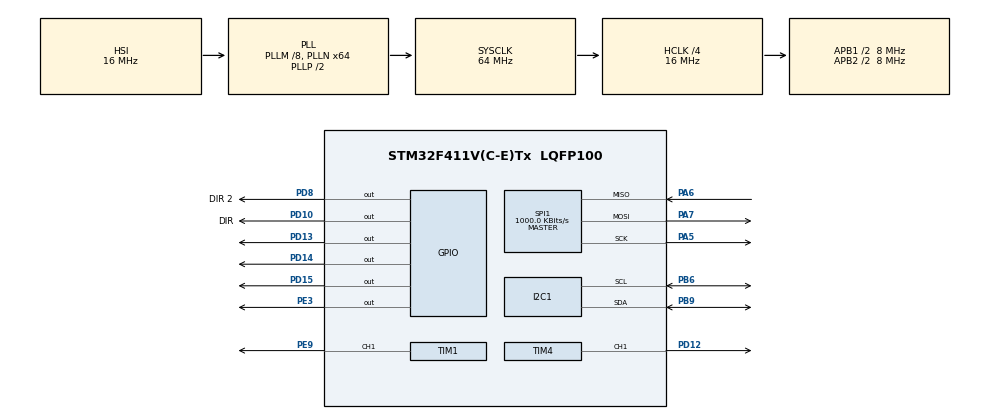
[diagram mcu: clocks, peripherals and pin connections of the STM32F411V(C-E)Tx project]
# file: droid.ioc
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I2C1.OwnAddress=0
Mcu.Family=STM32F4
Mcu.Name=STM32F411V(C-E)Tx
Mcu.Package=LQFP100
NVIC.PriorityGroup=NVIC_PRIORITYGROUP_0
NVIC.RCC_IRQn=true\:0\:0\:false\:false\:true\:true
PA5.Mode=Full_Duplex_Master
PA5.Signal=SPI1_SCK
PA6.Mode=Full_Duplex_Master
PA6.Signal=SPI1_MISO
PA7.Mode=Full_Duplex_Master
PA7.Signal=SPI1_MOSI
PB6.Mode=I2C
PB6.Signal=I2C1_SCL
PB9.Mode=I2C
PB9.Signal=I2C1_SDA
PD10.GPIO_Label=DIR
PD10.Signal=GPIO_Output
PD12.Signal=S_TIM4_CH1
PD13.Signal=GPIO_Output
PD14.Signal=GPIO_Output
PD15.Signal=GPIO_Output
PD8.GPIO_Label=DIR 2
PD8.Signal=GPIO_Output
PE3.PinState=GPIO_PIN_SET
PE3.Signal=GPIO_Output
PE9.Signal=S_TIM1_CH1
PH0\ -\ OSC_IN.Mode=HSE-External-Oscillator
PH0\ -\ OSC_IN.Signal=RCC_OSC_IN
PH1\ -\ OSC_OUT.Mode=HSE-External-Oscillator
PH1\ -\ OSC_OUT.Signal=RCC_OSC_OUT
ProjectManager.HeapSize=0x200
ProjectManager.StackSize=0x400
ProjectManager.TargetToolchain=MDK-ARM V5
RCC.48MHZClocksFreq_Value=16000000
RCC.AHBCLKDivider=RCC_SYSCLK_DIV4
RCC.AHBFreq_Value=16000000
RCC.APB1CLKDivider=RCC_HCLK_DIV2
RCC.APB1Freq_Value=8000000
RCC.APB1TimFreq_Value=16000000
RCC.APB2CLKDivider=RCC_HCLK_DIV2
RCC.APB2Freq_Value=8000000
RCC.APB2TimFreq_Value=16000000
RCC.CortexFreq_Value=16000000
RCC.HCLKFreq_Value=16000000
RCC.HSE_VALUE=8000000
RCC.HSI_VALUE=16000000
RCC.LSE_VALUE=32768
RCC.PLLI2SM=5
RCC.PLLI2SN=200
RCC.PLLM=8
RCC.PLLN=64
RCC.PLLQ=8
RCC.SYSCLKFreq_VALUE=64000000
RCC.SYSCLKSource=RCC_SYSCLKSOURCE_PLLCLK
RCC.VCOOutputFreq_Value=128000000
SH.S_TIM1_CH1.0=TIM1_CH1,PWM Generation1 CH1
SH.S_TIM4_CH1.0=TIM4_CH1,PWM Generation1 CH1
SPI1.BaudRatePrescaler=SPI_BAUDRATEPRESCALER_8
SPI1.CalculateBaudRate=1000.0 KBits/s
SPI1.Direction=SPI_DIRECTION_2LINES
SPI1.Mode=SPI_MODE_MASTER
SPI1.VirtualType=VM_MASTER
TIM1.Channel-PWM\ Generation1\ CH1=TIM_CHANNEL_1
TIM1.Period=1000
TIM1.Prescaler=16
TIM1.Pulse-PWM\ Generation1\ CH1=0
TIM4.Channel-PWM\ Generation1\ CH1=TIM_CHANNEL_1
TIM4.Period=1000
TIM4.Prescaler=16
VP_TIM1_VS_ClockSourceINT.Mode=Internal
VP_TIM4_VS_ClockSourceINT.Mode=Internal
board=32F411EDISCOVERY

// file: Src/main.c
/**
  ******************************************************************************
  * @file           : main.c
  * @brief          : Main program body
  ******************************************************************************
  ** This notice applies to any and all portions of this file
  * that are not between comment pairs USER CODE BEGIN and
  * USER CODE END. Other portions of this file, whether
  * inserted by the user or by software development tools
  * are owned by their respective copyright owners.
  *
  * COPYRIGHT(c) 2019 STMicroelectronics
  *
  * Redistribution and use in source and binary forms, with or without modification,
  * are permitted provided that the following conditions are met:
  *   1. Redistributions of source code must retain the above copyright notice,
  *      this list of conditions and the following disclaimer.
  *   2. Redistributions in binary form must reproduce the above copyright notice,
  *      this list of conditions and the following disclaimer in the documentation
  *      and/or other materials provided with the distribution.
  *   3. Neither the name of STMicroelectronics nor the names of its contributors
  *      may be used to endorse or promote products derived from this software
  *      without specific prior written permission.
  *
  * THIS SOFTWARE IS PROVIDED BY THE COPYRIGHT HOLDERS AND CONTRIBUTORS "AS IS"
  * AND ANY EXPRESS OR IMPLIED WARRANTIES, INCLUDING, BUT NOT LIMITED TO, THE
  * IMPLIED WARRANTIES OF MERCHANTABILITY AND FITNESS FOR A PARTICULAR PURPOSE ARE
  * DISCLAIMED. IN NO EVENT SHALL THE COPYRIGHT HOLDER OR CONTRIBUTORS BE LIABLE
  * FOR ANY DIRECT, INDIRECT, INCIDENTAL, SPECIAL, EXEMPLARY, OR CONSEQUENTIAL
  * DAMAGES (INCLUDING, BUT NOT LIMITED TO, PROCUREMENT OF SUBSTITUTE GOODS OR
  * SERVICES; LOSS OF USE, DATA, OR PROFITS; OR BUSINESS INTERRUPTION) HOWEVER
  * CAUSED AND ON ANY THEORY OF LIABILITY, WHETHER IN CONTRACT, STRICT LIABILITY,
  * OR TORT (INCLUDING NEGLIGENCE OR OTHERWISE) ARISING IN ANY WAY OUT OF THE USE
  * OF THIS SOFTWARE, EVEN IF ADVISED OF THE POSSIBILITY OF SUCH DAMAGE.
  *
  ******************************************************************************
  */
#include "main.h"
#include "stm32f4xx_hal.h"

/* USER CODE BEGIN Includes */
#include <stdbool.h>
#include <math.h>
/* USER CODE END Includes */

#define UMAX 100
#define UMIN 0
#define epsilon 0.01

#define Ki	0
#define Kp 0
#define Kd 0

I2C_HandleTypeDef hi2c1;

SPI_HandleTypeDef hspi1;

TIM_HandleTypeDef htim1;
TIM_HandleTypeDef htim4;

/* USER CODE BEGIN PV */
/* Private variables ---------------------------------------------------------*/

uint8_t spiTx[3], spiRx[6];
uint8_t modeReg;
uint8_t i2cRx[8], i2cBuff[7], i2cBuffm[7];
int i = 0;
float acc[3], mag[3], gyro[3], acc_deg[3] = {0,0,0}, gyro_deg[3] = {0,0,0}, deg[3] = {0,0,0};
float offsetMag[3], deltaMag[3], normMag, scale[3], initMag[3] = {0,0,0}, mag_deg[3];
float total_acc, avg_delta;
float Ka, Kg, Kg2, Km;	// gains of the complementary filter
float Ts = 0.00001;// sampling time
float N;
float a0, a1, a2;
double e2, e1, e0, u2, u1, u0;                    // variables used in PID computation
int vel;	// input for both motors

uint8_t mg[9];

struct Stepper {
	GPIO_TypeDef *dir_letter;
	uint16_t dir_number;
	GPIO_PinState dir;
	uint32_t uStepping;	//this controls the pins of microstepping  for the A4988 resolution
	int32_t vel;		//velocity in steps
	TIM_TypeDef *timer;	//the timer attached
}left, right;

/* USER CODE END PV */

void SystemClock_Config(void);
static void MX_GPIO_Init(void);
static void MX_TIM1_Init(void);
static void MX_TIM4_Init(void);
static void MX_SPI1_Init(void);
static void MX_I2C1_Init(void);

void HAL_TIM_MspPostInit(TIM_HandleTypeDef *htim);

/* USER CODE BEGIN PFP */
/* Private function prototypes -----------------------------------------------*/

void updateSteppers(){
	if(right.vel < 0) 	right.dir = !right.dir;
	if(left.vel < 0)		left.dir = !left.dir;

	HAL_GPIO_WritePin(right.dir_letter, right.dir_number, right.dir);
	HAL_GPIO_WritePin(left.dir_letter, left.dir_number, left.dir);

	right.timer->ARR = right.vel;
	right.timer->CCR1 = right.vel/2;

	left.timer -> ARR = left.vel;
	left.timer -> CCR1 = left.vel / 2;
}

void turnOnGyro(){
	HAL_GPIO_WritePin(GPIOE, GPIO_PIN_3, GPIO_PIN_RESET);
}

void turnOffGyro(){
	HAL_GPIO_WritePin(GPIOE, GPIO_PIN_3, GPIO_PIN_SET);
}

void getGyro(){
	uint16_t data[3];

  // send data
	turnOnGyro();
	spiTx[0] = GYRO_AXES_DATA_REG | 0xC0;
	HAL_SPI_Transmit(&hspi1, spiTx, 1, 10);
	// read values
	HAL_SPI_Receive(&hspi1, spiRx, 6, 10);
	turnOffGyro();
	HAL_Delay(10);

	data[0] = (spiRx[1] << 8) | spiRx[0];
	data[1] = (spiRx[3] << 8) | spiRx[2];
	data[2] = (spiRx[5] << 8) | spiRx[4];

	for(int i = 0; i < 3; i++){	//C2 data processing
		if(data[i] >= 0x8000){
			gyro[i] = - ( data[i] ^ 0xFFFF) + 1;
		}
		else	gyro[i] =  data[i];

		gyro[i] = gyro[i] * GYRO_SENS;
	}
}

// transmit data = 0x32
// receive data = 0x33
void testAcc(){
		if(HAL_I2C_IsDeviceReady(&hi2c1, 0x33, 1, 10) == HAL_OK)
				HAL_GPIO_TogglePin(GPIOD, GPIO_PIN_13);

		if(HAL_I2C_IsDeviceReady(&hi2c1, MAG_ADD_READ, 1, 10) == HAL_OK)
				HAL_GPIO_TogglePin(GPIOD, GPIO_PIN_14);

		if(HAL_I2C_IsDeviceReady(&hi2c1, 0x54, 1, 10) == HAL_OK)
				HAL_GPIO_TogglePin(GPIOD, GPIO_PIN_15);

}

float PID(float control_pitch, float pitch_angle){
	e0 = pitch_angle - control_pitch;

	float derivative, integral;

  if( sqrt(e0* e0) > epsilon )
	integral =integral+ e0 * Ts;

	derivative= (e0 - e1) / Ts;
	u0 = Kp * e0+ Ki * integral + Kd * derivative;
	e1 = e0;

	if ( u0 > UMAX )	u0= UMAX;
	else if ( u0 < UMIN)	u0 = UMIN;

	return u0;
}

void getAcc(){

	i2cBuff[0] = 0x28 | 0x80;	//sending the register address
	HAL_I2C_Master_Transmit(&hi2c1, 0x33, i2cBuff, 1, 10);
	HAL_I2C_Master_Receive(&hi2c1, 0x32, &i2cBuff[1], 6, 10);

	int16_t data[3];
	data[0] = (( i2cBuff[2] << 8 ) | i2cBuff[1]) >> 4;
	data[1] = (( i2cBuff[4] << 8 ) | i2cBuff[3]) >> 4;
	data[2] = (( i2cBuff[6] << 8 ) | i2cBuff[5]) >> 4;

	for(int i = 0; i < 3; i++){
		if ( data[i] > 0x7FF){	//	negative number
			acc[i] = - (data[i] ^ 0xFFF) + 1;
		}
		else	acc[i] = data[i];

		acc[i] /= 1024;

		total_acc = sqrt(acc[0] *acc[0] + acc[1]*acc[1] + acc[2]*acc[2]);
	}

}

void getMagnetometer(){

	i2cBuffm[0] = 0x03;	//sending the register address
	HAL_I2C_Master_Transmit(&hi2c1, MAG_ADD_WRITE, i2cBuffm, 1, 10);
	HAL_I2C_Master_Receive(&hi2c1, MAG_ADD_READ, &i2cBuffm[1], 6, 10);

	HAL_I2C_Master_Transmit(&hi2c1, 0x54, i2cBuffm, 7, 10);

	int16_t data[3];
	data[0] = ( i2cBuffm[1] << 8 ) | i2cBuffm[2];
	data[1] = ( i2cBuffm[3] << 8 ) | i2cBuffm[4];
	data[2] = ( i2cBuffm[5] << 8 ) | i2cBuffm[6];

	for(int i = 0; i < 3; i++){
		if ( data[i] > 0x7FF){	//	negative number
			mag[i] = - (data[i] ^ 0xFFF) + 1;
		}
		else	mag[i] = data[i];
	}

		mag[0] /= MAG_SENS_XY;
		mag[1] /= MAG_SENS_XY;
		mag[2] /= MAG_SENS_Z;
}

void calib_magnetometer(){

	for(int i = 0; i < 3; i++){
		mag[i] -= offsetMag[i];
		scale[i] = avg_delta / deltaMag[i];
		mag[i] *= scale[i];
	}

	normMag = sqrt(mag[0] * mag[0] + mag[1] * mag[1] + mag[2] * mag[2]);

	for( int i = 0; i < 3; i++){
		mag[i] /= normMag;
		mag[i] -= initMag[i];
	}
}

void gyro_int_values(){
	for( int i = 0; i < 3; i++){
		gyro_deg[i] += gyro[i] / (float)(1.0/95.0);
	}
}

void acc2angle(){

	acc_deg[0] = asin(acc[1] / total_acc) * 57.2958;		// ROLL
	acc_deg[1] = asin(-acc[0] /total_acc) * 57.2958;		// PITCH
}

void angles(){

	for(int i = 0; i < 2; i++){
		deg[i] = Kg*(deg[i] + gyro_deg[i] * (1/95)) + Ka*acc_deg[i];
	}
}

/* USER CODE END PFP */

int main(void)
{
  /* USER CODE BEGIN 1 */
	left.dir_letter = GPIOD;
	left.dir_number = GPIO_PIN_8;
	left.timer = TIM1;
	left.uStepping = 0;
	left.vel = 0;
	left.dir = GPIO_PIN_SET;

	right.dir_letter = GPIOD;
	right.dir_number = GPIO_PIN_10;
	right.timer = TIM4;
	right.uStepping = 0;
	right.vel = 0;
	right.dir = GPIO_PIN_SET;

	Kg = 0.95;
	Ka = 1 - Kg;

	offsetMag[0] = -0.085;
	offsetMag[1] = -0.065;
	offsetMag[2] = -0.325;

	deltaMag[0] = 1.315;
	deltaMag[1] = 1.315;
	deltaMag[2] = 1.325;

	avg_delta = deltaMag[0] + deltaMag[1] + deltaMag[2];
	avg_delta /= 3;

  /* USER CODE END 1 */

  /* MCU Configuration----------------------------------------------------------*/

  /* Reset of all peripherals, Initializes the Flash interface and the Systick. */
  HAL_Init();

  /* Configure the system clock */
  SystemClock_Config();

  /* Initialize all configured peripherals */
  MX_GPIO_Init();
  MX_TIM1_Init();
  MX_TIM4_Init();
  MX_SPI1_Init();
  MX_I2C1_Init();
  /* USER CODE BEGIN 2 */
	HAL_TIM_PWM_Start (&htim1,TIM_CHANNEL_1);
	HAL_TIM_PWM_Start(&htim4, TIM_CHANNEL_1);
	HAL_Delay(1000);

	left.vel = 300;
	left.dir = true;

	right.vel = 500;
  right.dir = false;

	spiTx[0] = 0x20;
	spiTx[1] = 0x0F;		//  95 Hz of output data rate and 12.5 Hz cutoff low freq

	turnOnGyro();
	HAL_SPI_Transmit(&hspi1, spiTx, 2, 50);
  turnOffGyro();

	turnOnGyro();
	// adding 1 as the MSB to enable read
	spiTx[0] = GYRO_CTRL_REG1 | 0x80;
	// transmiting the new data to the register
	HAL_SPI_Transmit(&hspi1, spiTx, 1, 50);
	HAL_SPI_Receive(&hspi1, spiRx, 1, 50);
	turnOffGyro();

	spiTx[0] = GYRO_SENS_REG;
	spiTx[1] = GYRO_SENS_FS;
	turnOnGyro();
	HAL_SPI_Transmit(&hspi1, spiTx, 2, 20);
	turnOffGyro();

	// i2c test
	testAcc();

	//  ********************* ACCELEROMETER ***********************

	// WRITE DATA
	i2cBuff[0] = 0x20 | 0x80;	// register 0. the |0x80 puts a '1' as the MSB and therefore enables multiple byte reading.
	i2cBuff[1] = 0x47;	// data to put in the register
	HAL_I2C_Master_Transmit(&hi2c1, 0x33, i2cBuff, 2, 10);
	HAL_Delay(50);

	i2cBuff[0] = 0x23 | 0x80;	// register 0. the |0x80 puts a '1' as the MSB and therefore enables multiple byte reading.
	i2cBuff[1] = 0x0;	// data to put in the register
	HAL_I2C_Master_Transmit(&hi2c1, 0x33, i2cBuff, 2, 10);
	HAL_Delay(50);

	// READ DATA
	i2cBuff[0] = 0x20;
	HAL_I2C_Master_Transmit(&hi2c1, 0x33, i2cBuff, 1, 10);
	i2cBuff[1] = 0x00;	// empty the variable
	HAL_I2C_Master_Receive(&hi2c1, 0x32,  &i2cRx[1], 1, 10);

	// *********************** MAGNETOMETER ************************

	i2cBuff[0] = 0;
	i2cBuff[1] = 0x14;
	HAL_I2C_Master_Transmit(&hi2c1, MAG_ADD_WRITE, i2cBuff, 2, 10);
	HAL_Delay(50);

	i2cBuff[0] = 0x01;
	i2cBuff[1] = 0x30;
	HAL_I2C_Master_Transmit(&hi2c1, MAG_ADD_WRITE, i2cBuff, 2, 10);
	HAL_Delay(50);

	i2cBuff[0] = 0x02;
	i2cBuff[1] = 0x00;
	HAL_I2C_Master_Transmit(&hi2c1, MAG_ADD_WRITE, i2cBuff, 2, 10);
	HAL_Delay(50);

	i2cBuff[0] = 0x0A;
	i2cRx[2] = 0;
	HAL_I2C_Master_Transmit(&hi2c1, MAG_ADD_WRITE, i2cBuff, 2, 10);
	HAL_Delay(20);
	HAL_I2C_Master_Receive(&hi2c1, MAG_ADD_READ, &i2cRx[2], 3, 10);

	// *********************** ARDUINO *****************

	i2cBuff[0] = 0x0F;
	i2cBuff[1] = 0x14;
	HAL_I2C_Master_Transmit(&hi2c1, 0, i2cBuff, 1, 10);
	HAL_Delay(50);

	getMagnetometer();
	calib_magnetometer();

	for(int i = 0; i < 3; i++){
		initMag[i] = mag[i];
	}
  /* USER CODE END 2 */

  /* Infinite loop */
  /* USER CODE BEGIN WHILE */
  while (1)
  {
	getGyro();
	getAcc();
  getMagnetometer();
	calib_magnetometer();
  gyro_int_values();
	acc2angle();
	angles();

	vel = PID(0, deg[0]);
	right.vel = left.vel = vel;
  /* USER CODE END WHILE */

  }

}

void SystemClock_Config(void)
{

  RCC_OscInitTypeDef RCC_OscInitStruct;
  RCC_ClkInitTypeDef RCC_ClkInitStruct;

    /**Configure the main internal regulator output voltage
    */
  __HAL_RCC_PWR_CLK_ENABLE();

  __HAL_PWR_VOLTAGESCALING_CONFIG(PWR_REGULATOR_VOLTAGE_SCALE1);

    /**Initializes the CPU, AHB and APB busses clocks
    */
  RCC_OscInitStruct.OscillatorType = RCC_OSCILLATORTYPE_HSI;
  RCC_OscInitStruct.HSIState = RCC_HSI_ON;
  RCC_OscInitStruct.HSICalibrationValue = 16;
  RCC_OscInitStruct.PLL.PLLState = RCC_PLL_ON;
  RCC_OscInitStruct.PLL.PLLSource = RCC_PLLSOURCE_HSI;
  RCC_OscInitStruct.PLL.PLLM = 8;
  RCC_OscInitStruct.PLL.PLLN = 64;
  RCC_OscInitStruct.PLL.PLLP = RCC_PLLP_DIV2;
  RCC_OscInitStruct.PLL.PLLQ = 8;
  if (HAL_RCC_OscConfig(&RCC_OscInitStruct) != HAL_OK)
  {
    _Error_Handler(__FILE__, __LINE__);
  }

    /**Initializes the CPU, AHB and APB busses clocks
    */
  RCC_ClkInitStruct.ClockType = RCC_CLOCKTYPE_HCLK|RCC_CLOCKTYPE_SYSCLK
                              |RCC_CLOCKTYPE_PCLK1|RCC_CLOCKTYPE_PCLK2;
  RCC_ClkInitStruct.SYSCLKSource = RCC_SYSCLKSOURCE_PLLCLK;
  RCC_ClkInitStruct.AHBCLKDivider = RCC_SYSCLK_DIV4;
  RCC_ClkInitStruct.APB1CLKDivider = RCC_HCLK_DIV2;
  RCC_ClkInitStruct.APB2CLKDivider = RCC_HCLK_DIV2;

  if (HAL_RCC_ClockConfig(&RCC_ClkInitStruct, FLASH_LATENCY_0) != HAL_OK)
  {
    _Error_Handler(__FILE__, __LINE__);
  }

    /**Configure the Systick interrupt time
    */
  HAL_SYSTICK_Config(HAL_RCC_GetHCLKFreq()/1000);

    /**Configure the Systick
    */
  HAL_SYSTICK_CLKSourceConfig(SYSTICK_CLKSOURCE_HCLK);

  /* SysTick_IRQn interrupt configuration */
  HAL_NVIC_SetPriority(SysTick_IRQn, 0, 0);
}

/* I2C1 init function */
static void MX_I2C1_Init(void)
{

  hi2c1.Instance = I2C1;
  hi2c1.Init.ClockSpeed = 100000;
  hi2c1.Init.DutyCycle = I2C_DUTYCYCLE_2;
  hi2c1.Init.OwnAddress1 = 0;
  hi2c1.Init.AddressingMode = I2C_ADDRESSINGMODE_7BIT;
  hi2c1.Init.DualAddressMode = I2C_DUALADDRESS_DISABLE;
  hi2c1.Init.OwnAddress2 = 0;
  hi2c1.Init.GeneralCallMode = I2C_GENERALCALL_DISABLE;
  hi2c1.Init.NoStretchMode = I2C_NOSTRETCH_DISABLE;
  if (HAL_I2C_Init(&hi2c1) != HAL_OK)
  {
    _Error_Handler(__FILE__, __LINE__);
  }

}

/* SPI1 init function */
static void MX_SPI1_Init(void)
{

  /* SPI1 parameter configuration*/
  hspi1.Instance = SPI1;
  hspi1.Init.Mode = SPI_MODE_MASTER;
  hspi1.Init.Direction = SPI_DIRECTION_2LINES;
  hspi1.Init.DataSize = SPI_DATASIZE_8BIT;
  hspi1.Init.CLKPolarity = SPI_POLARITY_LOW;
  hspi1.Init.CLKPhase = SPI_PHASE_1EDGE;
  hspi1.Init.NSS = SPI_NSS_SOFT;
  hspi1.Init.BaudRatePrescaler = SPI_BAUDRATEPRESCALER_8;
  hspi1.Init.FirstBit = SPI_FIRSTBIT_MSB;
  hspi1.Init.TIMode = SPI_TIMODE_DISABLE;
  hspi1.Init.CRCCalculation = SPI_CRCCALCULATION_DISABLE;
  hspi1.Init.CRCPolynomial = 10;
  if (HAL_SPI_Init(&hspi1) != HAL_OK)
  {
    _Error_Handler(__FILE__, __LINE__);
  }

}

/* TIM1 init function */
static void MX_TIM1_Init(void)
{

  TIM_ClockConfigTypeDef sClockSourceConfig;
  TIM_MasterConfigTypeDef sMasterConfig;
  TIM_OC_InitTypeDef sConfigOC;
  TIM_BreakDeadTimeConfigTypeDef sBreakDeadTimeConfig;

  htim1.Instance = TIM1;
  htim1.Init.Prescaler = 16;
  htim1.Init.CounterMode = TIM_COUNTERMODE_UP;
  htim1.Init.Period = 1000;
  htim1.Init.ClockDivision = TIM_CLOCKDIVISION_DIV1;
  htim1.Init.RepetitionCounter = 0;
  if (HAL_TIM_Base_Init(&htim1) != HAL_OK)
  {
    _Error_Handler(__FILE__, __LINE__);
  }

  sClockSourceConfig.ClockSource = TIM_CLOCKSOURCE_INTERNAL;
  if (HAL_TIM_ConfigClockSource(&htim1, &sClockSourceConfig) != HAL_OK)
  {
    _Error_Handler(__FILE__, __LINE__);
  }

  if (HAL_TIM_PWM_Init(&htim1) != HAL_OK)
  {
    _Error_Handler(__FILE__, __LINE__);
  }

  sMasterConfig.MasterOutputTrigger = TIM_TRGO_RESET;
  sMasterConfig.MasterSlaveMode = TIM_MASTERSLAVEMODE_DISABLE;
  if (HAL_TIMEx_MasterConfigSynchronization(&htim1, &sMasterConfig) != HAL_OK)
  {
    _Error_Handler(__FILE__, __LINE__);
  }

  sConfigOC.OCMode = TIM_OCMODE_PWM1;
  sConfigOC.Pulse = 0;
  sConfigOC.OCPolarity = TIM_OCPOLARITY_HIGH;
  sConfigOC.OCNPolarity = TIM_OCNPOLARITY_HIGH;
  sConfigOC.OCFastMode = TIM_OCFAST_DISABLE;
  sConfigOC.OCIdleState = TIM_OCIDLESTATE_RESET;
  sConfigOC.OCNIdleState = TIM_OCNIDLESTATE_RESET;
  if (HAL_TIM_PWM_ConfigChannel(&htim1, &sConfigOC, TIM_CHANNEL_1) != HAL_OK)
  {
    _Error_Handler(__FILE__, __LINE__);
  }

  sBreakDeadTimeConfig.OffStateRunMode = TIM_OSSR_DISABLE;
  sBreakDeadTimeConfig.OffStateIDLEMode = TIM_OSSI_DISABLE;
  sBreakDeadTimeConfig.LockLevel = TIM_LOCKLEVEL_OFF;
  sBreakDeadTimeConfig.DeadTime = 0;
  sBreakDeadTimeConfig.BreakState = TIM_BREAK_DISABLE;
  sBreakDeadTimeConfig.BreakPolarity = TIM_BREAKPOLARITY_HIGH;
  sBreakDeadTimeConfig.AutomaticOutput = TIM_AUTOMATICOUTPUT_DISABLE;
  if (HAL_TIMEx_ConfigBreakDeadTime(&htim1, &sBreakDeadTimeConfig) != HAL_OK)
  {
    _Error_Handler(__FILE__, __LINE__);
  }

  HAL_TIM_MspPostInit(&htim1);

}

/* TIM4 init function */
static void MX_TIM4_Init(void)
{

  TIM_ClockConfigTypeDef sClockSourceConfig;
  TIM_MasterConfigTypeDef sMasterConfig;
  TIM_OC_InitTypeDef sConfigOC;

  htim4.Instance = TIM4;
  htim4.Init.Prescaler = 16;
  htim4.Init.CounterMode = TIM_COUNTERMODE_UP;
  htim4.Init.Period = 1000;
  htim4.Init.ClockDivision = TIM_CLOCKDIVISION_DIV1;
  if (HAL_TIM_Base_Init(&htim4) != HAL_OK)
  {
    _Error_Handler(__FILE__, __LINE__);
  }

  sClockSourceConfig.ClockSource = TIM_CLOCKSOURCE_INTERNAL;
  if (HAL_TIM_ConfigClockSource(&htim4, &sClockSourceConfig) != HAL_OK)
  {
    _Error_Handler(__FILE__, __LINE__);
  }

  if (HAL_TIM_PWM_Init(&htim4) != HAL_OK)
  {
    _Error_Handler(__FILE__, __LINE__);
  }

  sMasterConfig.MasterOutputTrigger = TIM_TRGO_RESET;
  sMasterConfig.MasterSlaveMode = TIM_MASTERSLAVEMODE_DISABLE;
  if (HAL_TIMEx_MasterConfigSynchronization(&htim4, &sMasterConfig) != HAL_OK)
  {
    _Error_Handler(__FILE__, __LINE__);
  }

  sConfigOC.OCMode = TIM_OCMODE_PWM1;
  sConfigOC.Pulse = 0;
  sConfigOC.OCPolarity = TIM_OCPOLARITY_HIGH;
  sConfigOC.OCFastMode = TIM_OCFAST_DISABLE;
  if (HAL_TIM_PWM_ConfigChannel(&htim4, &sConfigOC, TIM_CHANNEL_1) != HAL_OK)
  {
    _Error_Handler(__FILE__, __LINE__);
  }

  HAL_TIM_MspPostInit(&htim4);

}

/** Configure pins as
        * Analog
        * Input
        * Output
        * EVENT_OUT
        * EXTI
*/
static void MX_GPIO_Init(void)
{

  GPIO_InitTypeDef GPIO_InitStruct;

  /* GPIO Ports Clock Enable */
  __HAL_RCC_GPIOE_CLK_ENABLE();
  __HAL_RCC_GPIOH_CLK_ENABLE();
  __HAL_RCC_GPIOA_CLK_ENABLE();
  __HAL_RCC_GPIOD_CLK_ENABLE();
  __HAL_RCC_GPIOB_CLK_ENABLE();

  /*Configure GPIO pin Output Level */
  HAL_GPIO_WritePin(GPIOE, GPIO_PIN_3, GPIO_PIN_SET);

  /*Configure GPIO pin Output Level */
  HAL_GPIO_WritePin(GPIOD, DIR_2_Pin|DIR_Pin|GPIO_PIN_13|GPIO_PIN_14
                          |GPIO_PIN_15, GPIO_PIN_RESET);

  /*Configure GPIO pin : PE3 */
  GPIO_InitStruct.Pin = GPIO_PIN_3;
  GPIO_InitStruct.Mode = GPIO_MODE_OUTPUT_PP;
  GPIO_InitStruct.Pull = GPIO_NOPULL;
  GPIO_InitStruct.Speed = GPIO_SPEED_FREQ_LOW;
  HAL_GPIO_Init(GPIOE, &GPIO_InitStruct);

  /*Configure GPIO pins : DIR_2_Pin DIR_Pin PD13 PD14
                           PD15 */
  GPIO_InitStruct.Pin = DIR_2_Pin|DIR_Pin|GPIO_PIN_13|GPIO_PIN_14
                          |GPIO_PIN_15;
  GPIO_InitStruct.Mode = GPIO_MODE_OUTPUT_PP;
  GPIO_InitStruct.Pull = GPIO_NOPULL;
  GPIO_InitStruct.Speed = GPIO_SPEED_FREQ_LOW;
  HAL_GPIO_Init(GPIOD, &GPIO_InitStruct);

}

void _Error_Handler(char *file, int line)
{
  while(1)
  {
  }
}

/************************ (C) COPYRIGHT STMicroelectronics *****END OF FILE****/
